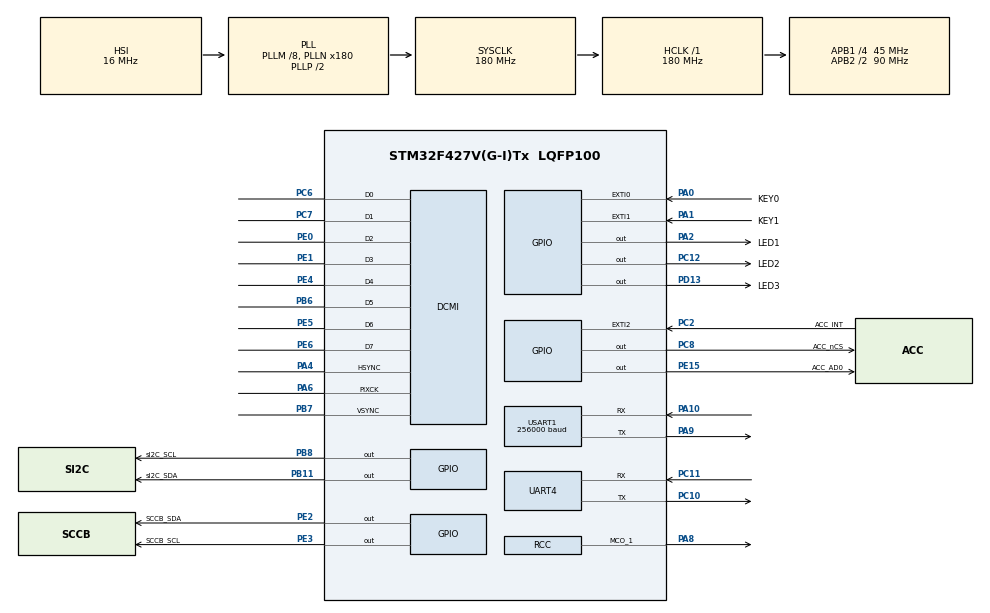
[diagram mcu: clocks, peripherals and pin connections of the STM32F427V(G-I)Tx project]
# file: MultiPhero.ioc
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DCMI.HSPolarity=DCMI_HSPOLARITY_LOW
DCMI.PCKPolarity=DCMI_PCKPOLARITY_RISING
DCMI.VSPolarity=DCMI_VSPOLARITY_HIGH
Dma.DCMI.0.Direction=DMA_PERIPH_TO_MEMORY
Dma.DCMI.0.FIFOMode=DMA_FIFOMODE_ENABLE
Dma.DCMI.0.FIFOThreshold=DMA_FIFO_THRESHOLD_FULL
Dma.DCMI.0.Instance=DMA2_Stream1
Dma.DCMI.0.MemBurst=DMA_MBURST_SINGLE
Dma.DCMI.0.MemDataAlignment=DMA_MDATAALIGN_WORD
Dma.DCMI.0.MemInc=DMA_MINC_ENABLE
Dma.DCMI.0.Mode=DMA_CIRCULAR
Dma.DCMI.0.PeriphBurst=DMA_PBURST_SINGLE
Dma.DCMI.0.PeriphDataAlignment=DMA_PDATAALIGN_WORD
Dma.DCMI.0.PeriphInc=DMA_PINC_DISABLE
Dma.DCMI.0.Priority=DMA_PRIORITY_HIGH
Dma.Request0=DCMI
Mcu.Family=STM32F4
Mcu.Name=STM32F427V(G-I)Tx
Mcu.Package=LQFP100
NVIC.DCMI_IRQn=true\:0\:0\:false\:false\:true\:true
NVIC.DMA2_Stream1_IRQn=true\:0\:0\:false\:false\:true\:false
NVIC.EXTI0_IRQn=true\:3\:0\:true\:false\:true\:true
NVIC.EXTI1_IRQn=true\:3\:0\:true\:false\:true\:true
NVIC.PriorityGroup=NVIC_PRIORITYGROUP_3
NVIC.USART1_IRQn=true\:2\:1\:true\:false\:true\:true
PA0/WKUP.GPIO_Label=KEY0
PA0/WKUP.Signal=GPXTI0
PA1.GPIO_Label=KEY1
PA1.Signal=GPXTI1
PA10.Mode=Asynchronous
PA10.Signal=USART1_RX
PA13.Mode=Serial_Wire
PA13.Signal=SYS_JTMS-SWDIO
PA14.Mode=Serial_Wire
PA14.Signal=SYS_JTCK-SWCLK
PA2.GPIO_Label=LED1
PA2.GPIO_PuPd=GPIO_PULLUP
PA2.GPIO_Speed=GPIO_SPEED_FREQ_MEDIUM
PA2.Signal=GPIO_Output
PA4.Mode=Slave_8_bits_External_Synchro
PA4.Signal=DCMI_HSYNC
PA6.Mode=Slave_8_bits_External_Synchro
PA6.Signal=DCMI_PIXCK
PA8.Mode=Clock-out-1
PA8.Signal=RCC_MCO_1
PA9.Mode=Asynchronous
PA9.Signal=USART1_TX
PB11.GPIO_Label=sI2C_SDA
PB11.GPIO_ModeDefaultOutputPP=GPIO_MODE_OUTPUT_OD
PB11.GPIO_PuPd=GPIO_PULLUP
PB11.GPIO_Speed=GPIO_SPEED_FREQ_MEDIUM
PB11.Signal=GPIO_Output
PB6.Mode=Slave_8_bits_External_Synchro
PB6.Signal=DCMI_D5
PB7.Mode=Slave_8_bits_External_Synchro
PB7.Signal=DCMI_VSYNC
PB8.GPIO_Label=sI2C_SCL
PB8.GPIO_ModeDefaultOutputPP=GPIO_MODE_OUTPUT_OD
PB8.GPIO_PuPd=GPIO_PULLUP
PB8.GPIO_Speed=GPIO_SPEED_FREQ_MEDIUM
PB8.Signal=GPIO_Output
PC10.Mode=Asynchronous
PC10.Signal=UART4_TX
PC11.Mode=Asynchronous
PC11.Signal=UART4_RX
PC12.GPIO_Label=LED2
PC12.GPIO_PuPd=GPIO_PULLUP
PC12.GPIO_Speed=GPIO_SPEED_FREQ_MEDIUM
PC12.Signal=GPIO_Output
PC2.GPIO_Label=ACC_INT
PC2.Signal=GPXTI2
PC6.Mode=Slave_8_bits_External_Synchro
PC6.Signal=DCMI_D0
PC7.Mode=Slave_8_bits_External_Synchro
PC7.Signal=DCMI_D1
PC8.GPIO_Label=ACC_nCS
PC8.PinState=GPIO_PIN_SET
PC8.Signal=GPIO_Output
PD13.GPIO_Label=LED3
PD13.GPIO_PuPd=GPIO_PULLUP
PD13.GPIO_Speed=GPIO_SPEED_FREQ_MEDIUM
PD13.Signal=GPIO_Output
PE0.Mode=Slave_8_bits_External_Synchro
PE0.Signal=DCMI_D2
PE1.Mode=Slave_8_bits_External_Synchro
PE1.Signal=DCMI_D3
PE15.GPIO_Label=ACC_AD0
PE15.GPIO_ModeDefaultOutputPP=GPIO_MODE_OUTPUT_PP
PE15.GPIO_Speed=GPIO_SPEED_FREQ_MEDIUM
PE15.PinState=GPIO_PIN_RESET
PE15.Signal=GPIO_Output
PE2.GPIO_Label=SCCB_SDA
PE2.GPIO_ModeDefaultOutputPP=GPIO_MODE_OUTPUT_OD
PE2.GPIO_PuPd=GPIO_PULLUP
PE2.GPIO_Speed=GPIO_SPEED_FREQ_MEDIUM
PE2.Signal=GPIO_Output
PE3.GPIO_Label=SCCB_SCL
PE3.GPIO_ModeDefaultOutputPP=GPIO_MODE_OUTPUT_OD
PE3.GPIO_PuPd=GPIO_PULLUP
PE3.GPIO_Speed=GPIO_SPEED_FREQ_MEDIUM
PE3.Signal=GPIO_Output
PE4.Mode=Slave_8_bits_External_Synchro
PE4.Signal=DCMI_D4
PE5.Mode=Slave_8_bits_External_Synchro
PE5.Signal=DCMI_D6
PE6.Mode=Slave_8_bits_External_Synchro
PE6.Signal=DCMI_D7
PH0/OSC_IN.Mode=HSE-External-Oscillator
PH0/OSC_IN.Signal=RCC_OSC_IN
PH1/OSC_OUT.Mode=HSE-External-Oscillator
PH1/OSC_OUT.Signal=RCC_OSC_OUT
ProjectManager.HeapSize=0x200
ProjectManager.StackSize=0x400
ProjectManager.TargetToolchain=MDK-ARM V5
RCC.48MHZClocksFreq_Value=90000000
RCC.AHBFreq_Value=180000000
RCC.APB1CLKDivider=RCC_HCLK_DIV4
RCC.APB1Freq_Value=45000000
RCC.APB1TimFreq_Value=90000000
RCC.APB2CLKDivider=RCC_HCLK_DIV2
RCC.APB2Freq_Value=90000000
RCC.APB2TimFreq_Value=180000000
RCC.CortexFreq_Value=180000000
RCC.HCLKFreq_Value=180000000
RCC.HSE_VALUE=25000000
RCC.HSI_VALUE=16000000
RCC.LSE_VALUE=32768
RCC.PLLM=8
RCC.PLLN=180
RCC.RCC_MCO1Source=RCC_MCO1SOURCE_HSE
RCC.SYSCLKFreq_VALUE=180000000
RCC.SYSCLKSource=RCC_SYSCLKSOURCE_PLLCLK
RCC.VCOOutputFreq_Value=360000000
UART4.VirtualMode=Asynchronous
USART1.BaudRate=256000
USART1.VirtualMode=VM_ASYNC
board=custom

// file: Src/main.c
/**
  ******************************************************************************
  * @file           : main.c
  * @brief          : Main program body
  ******************************************************************************
  ** This notice applies to any and all portions of this file
  * that are not between comment pairs USER CODE BEGIN and
  * USER CODE END. Other portions of this file, whether
  * inserted by the user or by software development tools
  * are owned by their respective copyright owners.
  *
  * COPYRIGHT(c) 2018 STMicroelectronics
  *
  * Redistribution and use in source and binary forms, with or without modification,
  * are permitted provided that the following conditions are met:
  *   1. Redistributions of source code must retain the above copyright notice,
  *      this list of conditions and the following disclaimer.
  *   2. Redistributions in binary form must reproduce the above copyright notice,
  *      this list of conditions and the following disclaimer in the documentation
  *      and/or other materials provided with the distribution.
  *   3. Neither the name of STMicroelectronics nor the names of its contributors
  *      may be used to endorse or promote products derived from this software
  *      without specific prior written permission.
  *
  * THIS SOFTWARE IS PROVIDED BY THE COPYRIGHT HOLDERS AND CONTRIBUTORS "AS IS"
  * AND ANY EXPRESS OR IMPLIED WARRANTIES, INCLUDING, BUT NOT LIMITED TO, THE
  * IMPLIED WARRANTIES OF MERCHANTABILITY AND FITNESS FOR A PARTICULAR PURPOSE ARE
  * DISCLAIMED. IN NO EVENT SHALL THE COPYRIGHT HOLDER OR CONTRIBUTORS BE LIABLE
  * FOR ANY DIRECT, INDIRECT, INCIDENTAL, SPECIAL, EXEMPLARY, OR CONSEQUENTIAL
  * DAMAGES (INCLUDING, BUT NOT LIMITED TO, PROCUREMENT OF SUBSTITUTE GOODS OR
  * SERVICES; LOSS OF USE, DATA, OR PROFITS; OR BUSINESS INTERRUPTION) HOWEVER
  * CAUSED AND ON ANY THEORY OF LIABILITY, WHETHER IN CONTRACT, STRICT LIABILITY,
  * OR TORT (INCLUDING NEGLIGENCE OR OTHERWISE) ARISING IN ANY WAY OUT OF THE USE
  * OF THIS SOFTWARE, EVEN IF ADVISED OF THE POSSIBILITY OF SUCH DAMAGE.
  *
  ******************************************************************************
  */
#include "main.h"
#include "stm32f4xx_hal.h"

/* USER CODE BEGIN Includes */
#include "delay.h"
#include "ColiasCamera.h"
#include "MPU9250.h"
#include "Debug.h"
#include "sI2C.h"
/* USER CODE END Includes */

DCMI_HandleTypeDef hdcmi;
DMA_HandleTypeDef hdma_dcmi;

UART_HandleTypeDef huart4;
UART_HandleTypeDef huart1;

/* USER CODE BEGIN PV */
/* Private variables ---------------------------------------------------------*/
uint8_t TestImage[20][30] = {0};
/* USER CODE END PV */

void SystemClock_Config(void);
static void MX_GPIO_Init(void);
static void MX_DMA_Init(void);
static void MX_USART1_UART_Init(void);
static void MX_DCMI_Init(void);
static void MX_UART4_Init(void);

/* USER CODE BEGIN PFP */
/* Private function prototypes -----------------------------------------------*/

/* USER CODE END PFP */

/* USER CODE BEGIN 0 */
extern uint32_t __IO FrameCounter;
extern uint32_t __IO ImageCounter;
extern uint8_t __IO CurrentImageSlot;
//extern uint16_t Image[3][Image_Height][Image_Width];
extern uint16_t Image[Image_Height][Image_Width];
uint8_t ImageReady = 0;
/* USER CODE END 0 */

int main(void)
{
  /* USER CODE BEGIN 1 */
  uint16_t temp16 = 0x1234;
	uint8_t temp8;
	uint16_t i,j;
  /* USER CODE END 1 */

  /* MCU Configuration----------------------------------------------------------*/

  /* Reset of all peripherals, Initializes the Flash interface and the Systick. */
  HAL_Init();

  /* Configure the system clock */
  SystemClock_Config();

  /* Initialize all configured peripherals */
  MX_GPIO_Init();
  MX_DMA_Init();
  MX_USART1_UART_Init();
  MX_DCMI_Init();
  MX_UART4_Init();

  /* Infinite loop */
  /* USER CODE BEGIN WHILE */

	  //HAL_Delay(500);

  /* USER CODE END WHILE */

  /* USER CODE BEGIN 3 */
	while(Camera_Init(Res_QQCIF)){

			delay_ms(100);
			HAL_GPIO_TogglePin(LED1_GPIO_Port,LED1_Pin);
			delay_ms(300);
			HAL_GPIO_TogglePin(LED1_GPIO_Port,LED1_Pin);
	}

//	while(MPU9250_init()){
//
//			delay_ms(100);
//			HAL_GPIO_TogglePin(LED1_GPIO_Port,LED1_Pin);
//			delay_ms(300);
//			HAL_GPIO_TogglePin(LED1_GPIO_Port,LED1_Pin);
//	}

//	while(Camera_StartCapture())
//	{
//		printf("DCMI_DMA ErrorStart!\n\r");
//	}
//	printf("DCMI_DMA Start!\n\r");

	while(1){
//		HAL_GPIO_TogglePin(LED2_GPIO_Port,LED2_Pin);
////		delay_ms(100);
////		printf("\n\r UART Printf Example: retarget the C library printf function to the UART\n\r");
//		delay_ms(1000);
//		printf("The %d th Frame and The %d th Image\n\r",FrameCounter,ImageCounter);

//		//TEST
//		uint8_t i,j;
//		uint16_t test[2][2] = {0xf800, 0x07e0, 0x001f, 0xffff};
//
//	  for(i=0;i<2;i++)
//	 {
//		for(j=0;j<2;j++)
//		{
////			temp8 = Image[CurrentImageSlot][i][j]&0xff;
//			temp8 = test[i][j]&0xff;
////			temp8 = Image[CurrentImageSlot][i][j]>>8;
//			if(temp8==0xff)
//			{
//				temp8 = 0xfe;
//			}
//			HAL_UART_Transmit(&huart1, (uint8_t *)&temp8, 1, 0xFFFF);
//			temp8 = test[i][j]>>8;
////			temp8 = Image[CurrentImageSlot][i][j]>>8;
////			temp8 = Image[CurrentImageSlot][i][j]&0xff;
//			if(temp8==0xff)
//			{
//				temp8 = 0xfe;
//			}
//			HAL_UART_Transmit(&huart1, (uint8_t *)&temp8, 1, 0xFFFF);
//		}
//	}
//	temp8 = 0xff;
//	HAL_UART_Transmit(&huart1, (uint8_t *)&temp8, 1, 0xFFFF);
//	delay_ms(500);
//
//		//test end
//
	  uint8_t who_am_i=0,state=0;
   	state = MPU_ReadReg(0x75, &who_am_i);
		printf("MPU9250_WHO_AM_I = %d, state=%d\n\r", who_am_i, state);
		delay_ms(200);

		if(ImageReady==1)
		{
			Camera_StopCapture();
			ImageReady = 0;
//			for(i=0;i<20;i++)
//			{
//				for(j=0;j<30;j++)
//				{
//					temp8 = 210;
//					HAL_UART_Transmit(&huart1, (uint8_t *)&temp8, 1, 0xFFFF);
//				}
//			}
//			temp8 = 0xff;
//			HAL_UART_Transmit(&huart1, (uint8_t *)&temp8, 1, 0xFFFF);
			SendFrames(RGB565);

			while(Camera_StartCapture())
			{
				HAL_GPIO_TogglePin(LED1_GPIO_Port,LED1_Pin);
				delay_ms(100);
			}
//			temp = Image[12][14];
//			HAL_UART_Transmit(&huart1, (uint8_t *)&temp + 1, 1, 0xFFFF);
//			HAL_UART_Transmit(&huart1, (uint8_t *)&temp, 1, 0xFFFF);
//			printf("\r\n0x1234\r\n");
//			printf("Imagslot = %d\r\n",CurrentImageSlot);
//			printf("pixel=%d\r\n",Image[12][14]);
//			HAL_GPIO_TogglePin(LED2_GPIO_Port,LED2_Pin);
		}

	}
  /* USER CODE END 3 */

}

void SystemClock_Config(void)
{

  RCC_OscInitTypeDef RCC_OscInitStruct;
  RCC_ClkInitTypeDef RCC_ClkInitStruct;

    /**Configure the main internal regulator output voltage
    */
  __HAL_RCC_PWR_CLK_ENABLE();

  __HAL_PWR_VOLTAGESCALING_CONFIG(PWR_REGULATOR_VOLTAGE_SCALE1);

    /**Initializes the CPU, AHB and APB busses clocks
    */
  RCC_OscInitStruct.OscillatorType = RCC_OSCILLATORTYPE_HSI|RCC_OSCILLATORTYPE_HSE;
  RCC_OscInitStruct.HSEState = RCC_HSE_ON;
  RCC_OscInitStruct.HSIState = RCC_HSI_ON;
  RCC_OscInitStruct.HSICalibrationValue = 16;
  RCC_OscInitStruct.PLL.PLLState = RCC_PLL_ON;
  RCC_OscInitStruct.PLL.PLLSource = RCC_PLLSOURCE_HSI;
  RCC_OscInitStruct.PLL.PLLM = 8;
  RCC_OscInitStruct.PLL.PLLN = 180;
  RCC_OscInitStruct.PLL.PLLP = RCC_PLLP_DIV2;
  RCC_OscInitStruct.PLL.PLLQ = 4;
  if (HAL_RCC_OscConfig(&RCC_OscInitStruct) != HAL_OK)
  {
    _Error_Handler(__FILE__, __LINE__);
  }

    /**Activate the Over-Drive mode
    */
  if (HAL_PWREx_EnableOverDrive() != HAL_OK)
  {
    _Error_Handler(__FILE__, __LINE__);
  }

    /**Initializes the CPU, AHB and APB busses clocks
    */
  RCC_ClkInitStruct.ClockType = RCC_CLOCKTYPE_HCLK|RCC_CLOCKTYPE_SYSCLK
                              |RCC_CLOCKTYPE_PCLK1|RCC_CLOCKTYPE_PCLK2;
  RCC_ClkInitStruct.SYSCLKSource = RCC_SYSCLKSOURCE_PLLCLK;
  RCC_ClkInitStruct.AHBCLKDivider = RCC_SYSCLK_DIV1;
  RCC_ClkInitStruct.APB1CLKDivider = RCC_HCLK_DIV4;
  RCC_ClkInitStruct.APB2CLKDivider = RCC_HCLK_DIV2;

  if (HAL_RCC_ClockConfig(&RCC_ClkInitStruct, FLASH_LATENCY_5) != HAL_OK)
  {
    _Error_Handler(__FILE__, __LINE__);
  }

  HAL_RCC_MCOConfig(RCC_MCO1, RCC_MCO1SOURCE_HSE, RCC_MCODIV_1);

    /**Configure the Systick interrupt time
    */
  HAL_SYSTICK_Config(HAL_RCC_GetHCLKFreq()/1000);

    /**Configure the Systick
    */
  HAL_SYSTICK_CLKSourceConfig(SYSTICK_CLKSOURCE_HCLK);

  /* SysTick_IRQn interrupt configuration */
  HAL_NVIC_SetPriority(SysTick_IRQn, 0, 0);
}

/* DCMI init function */
static void MX_DCMI_Init(void)
{

  hdcmi.Instance = DCMI;
  hdcmi.Init.SynchroMode = DCMI_SYNCHRO_HARDWARE;
  hdcmi.Init.PCKPolarity = DCMI_PCKPOLARITY_RISING;
  hdcmi.Init.VSPolarity = DCMI_VSPOLARITY_HIGH;
  hdcmi.Init.HSPolarity = DCMI_HSPOLARITY_LOW;
  hdcmi.Init.CaptureRate = DCMI_CR_ALL_FRAME;
  hdcmi.Init.ExtendedDataMode = DCMI_EXTEND_DATA_8B;
  hdcmi.Init.JPEGMode = DCMI_JPEG_DISABLE;
  if (HAL_DCMI_Init(&hdcmi) != HAL_OK)
  {
    _Error_Handler(__FILE__, __LINE__);
  }

}

/* UART4 init function */
static void MX_UART4_Init(void)
{

  huart4.Instance = UART4;
  huart4.Init.BaudRate = 115200;
  huart4.Init.WordLength = UART_WORDLENGTH_8B;
  huart4.Init.StopBits = UART_STOPBITS_1;
  huart4.Init.Parity = UART_PARITY_NONE;
  huart4.Init.Mode = UART_MODE_TX_RX;
  huart4.Init.HwFlowCtl = UART_HWCONTROL_NONE;
  huart4.Init.OverSampling = UART_OVERSAMPLING_16;
  if (HAL_UART_Init(&huart4) != HAL_OK)
  {
    _Error_Handler(__FILE__, __LINE__);
  }

}

/* USART1 init function */
static void MX_USART1_UART_Init(void)
{

  huart1.Instance = USART1;
  huart1.Init.BaudRate = 256000;
  huart1.Init.WordLength = UART_WORDLENGTH_8B;
  huart1.Init.StopBits = UART_STOPBITS_1;
  huart1.Init.Parity = UART_PARITY_NONE;
  huart1.Init.Mode = UART_MODE_TX_RX;
  huart1.Init.HwFlowCtl = UART_HWCONTROL_NONE;
  huart1.Init.OverSampling = UART_OVERSAMPLING_16;
  if (HAL_UART_Init(&huart1) != HAL_OK)
  {
    _Error_Handler(__FILE__, __LINE__);
  }

}

static void MX_DMA_Init(void)
{
  /* DMA controller clock enable */
  __HAL_RCC_DMA2_CLK_ENABLE();

  /* DMA interrupt init */
  /* DMA2_Stream1_IRQn interrupt configuration */
  HAL_NVIC_SetPriority(DMA2_Stream1_IRQn, 0, 0);
  HAL_NVIC_EnableIRQ(DMA2_Stream1_IRQn);

}

/** Configure pins as
        * Analog
        * Input
        * Output
        * EVENT_OUT
        * EXTI
     PA8   ------> RCC_MCO_1
*/
static void MX_GPIO_Init(void)
{

  GPIO_InitTypeDef GPIO_InitStruct;

  /* GPIO Ports Clock Enable */
  __HAL_RCC_GPIOE_CLK_ENABLE();
  __HAL_RCC_GPIOH_CLK_ENABLE();
  __HAL_RCC_GPIOC_CLK_ENABLE();
  __HAL_RCC_GPIOA_CLK_ENABLE();
  __HAL_RCC_GPIOB_CLK_ENABLE();
  __HAL_RCC_GPIOD_CLK_ENABLE();

  /*Configure GPIO pin Output Level */
  HAL_GPIO_WritePin(GPIOE, SCCB_SDA_Pin|SCCB_SCL_Pin|ACC_AD0_Pin, GPIO_PIN_RESET);

  /*Configure GPIO pin Output Level */
  HAL_GPIO_WritePin(LED1_GPIO_Port, LED1_Pin, GPIO_PIN_RESET);

  /*Configure GPIO pin Output Level */
  HAL_GPIO_WritePin(GPIOB, sI2C_SDA_Pin|sI2C_SCL_Pin, GPIO_PIN_RESET);

  /*Configure GPIO pin Output Level */
  HAL_GPIO_WritePin(LED3_GPIO_Port, LED3_Pin, GPIO_PIN_RESET);

  /*Configure GPIO pin Output Level */
  HAL_GPIO_WritePin(GPIOC, ACC_nCS_Pin|LED2_Pin, GPIO_PIN_RESET);

  /*Configure GPIO pins : SCCB_SDA_Pin SCCB_SCL_Pin */
  GPIO_InitStruct.Pin = SCCB_SDA_Pin|SCCB_SCL_Pin;
  GPIO_InitStruct.Mode = GPIO_MODE_OUTPUT_OD;
  GPIO_InitStruct.Pull = GPIO_PULLUP;
  GPIO_InitStruct.Speed = GPIO_SPEED_FREQ_MEDIUM;
  HAL_GPIO_Init(GPIOE, &GPIO_InitStruct);

  /*Configure GPIO pin : ACC_INT_Pin */
  GPIO_InitStruct.Pin = ACC_INT_Pin;
  GPIO_InitStruct.Mode = GPIO_MODE_IT_RISING;
  GPIO_InitStruct.Pull = GPIO_NOPULL;
  HAL_GPIO_Init(ACC_INT_GPIO_Port, &GPIO_InitStruct);

  /*Configure GPIO pins : KEY0_Pin KEY1_Pin */
  GPIO_InitStruct.Pin = KEY0_Pin|KEY1_Pin;
  GPIO_InitStruct.Mode = GPIO_MODE_IT_RISING;
  GPIO_InitStruct.Pull = GPIO_NOPULL;
  HAL_GPIO_Init(GPIOA, &GPIO_InitStruct);

  /*Configure GPIO pin : LED1_Pin */
  GPIO_InitStruct.Pin = LED1_Pin;
  GPIO_InitStruct.Mode = GPIO_MODE_OUTPUT_PP;
  GPIO_InitStruct.Pull = GPIO_PULLUP;
  GPIO_InitStruct.Speed = GPIO_SPEED_FREQ_MEDIUM;
  HAL_GPIO_Init(LED1_GPIO_Port, &GPIO_InitStruct);

  /*Configure GPIO pin : ACC_AD0_Pin */
  GPIO_InitStruct.Pin = ACC_AD0_Pin;
  GPIO_InitStruct.Mode = GPIO_MODE_OUTPUT_PP;
  GPIO_InitStruct.Pull = GPIO_NOPULL;
  GPIO_InitStruct.Speed = GPIO_SPEED_FREQ_MEDIUM;
  HAL_GPIO_Init(ACC_AD0_GPIO_Port, &GPIO_InitStruct);

  /*Configure GPIO pins : sI2C_SDA_Pin sI2C_SCL_Pin */
  GPIO_InitStruct.Pin = sI2C_SDA_Pin|sI2C_SCL_Pin;
  GPIO_InitStruct.Mode = GPIO_MODE_OUTPUT_OD;
  GPIO_InitStruct.Pull = GPIO_PULLUP;
  GPIO_InitStruct.Speed = GPIO_SPEED_FREQ_MEDIUM;
  HAL_GPIO_Init(GPIOB, &GPIO_InitStruct);

  /*Configure GPIO pin : LED3_Pin */
  GPIO_InitStruct.Pin = LED3_Pin;
  GPIO_InitStruct.Mode = GPIO_MODE_OUTPUT_PP;
  GPIO_InitStruct.Pull = GPIO_PULLUP;
  GPIO_InitStruct.Speed = GPIO_SPEED_FREQ_MEDIUM;
  HAL_GPIO_Init(LED3_GPIO_Port, &GPIO_InitStruct);

  /*Configure GPIO pin : ACC_nCS_Pin */
  GPIO_InitStruct.Pin = ACC_nCS_Pin;
  GPIO_InitStruct.Mode = GPIO_MODE_OUTPUT_PP;
  GPIO_InitStruct.Pull = GPIO_NOPULL;
  GPIO_InitStruct.Speed = GPIO_SPEED_FREQ_LOW;
  HAL_GPIO_Init(ACC_nCS_GPIO_Port, &GPIO_InitStruct);

  /*Configure GPIO pin : PA8 */
  GPIO_InitStruct.Pin = GPIO_PIN_8;
  GPIO_InitStruct.Mode = GPIO_MODE_AF_PP;
  GPIO_InitStruct.Pull = GPIO_NOPULL;
  GPIO_InitStruct.Speed = GPIO_SPEED_FREQ_LOW;
  GPIO_InitStruct.Alternate = GPIO_AF0_MCO;
  HAL_GPIO_Init(GPIOA, &GPIO_InitStruct);

  /*Configure GPIO pin : LED2_Pin */
  GPIO_InitStruct.Pin = LED2_Pin;
  GPIO_InitStruct.Mode = GPIO_MODE_OUTPUT_PP;
  GPIO_InitStruct.Pull = GPIO_PULLUP;
  GPIO_InitStruct.Speed = GPIO_SPEED_FREQ_MEDIUM;
  HAL_GPIO_Init(LED2_GPIO_Port, &GPIO_InitStruct);

  /* EXTI interrupt init*/
  HAL_NVIC_SetPriority(EXTI0_IRQn, 3, 0);
  HAL_NVIC_EnableIRQ(EXTI0_IRQn);

  HAL_NVIC_SetPriority(EXTI1_IRQn, 3, 0);
  HAL_NVIC_EnableIRQ(EXTI1_IRQn);

}

/* USER CODE BEGIN 4 */
#if 1
#pragma import(__use_no_semihosting)
struct __FILE
{
	int handle;
};
FILE __stdout;
void _sys_exit(int x)
{
	x = x;
}
int fputc(int ch, FILE *f)
{
  	HAL_UART_Transmit(&huart1, (uint8_t *)&ch, 1, 0xFFFF);

  	return ch;
}
#endif
/* USER CODE END 4 */

void _Error_Handler(char *file, int line)
{
  while(1)
  {
  }
}

/************************ (C) COPYRIGHT STMicroelectronics *****END OF FILE****/
